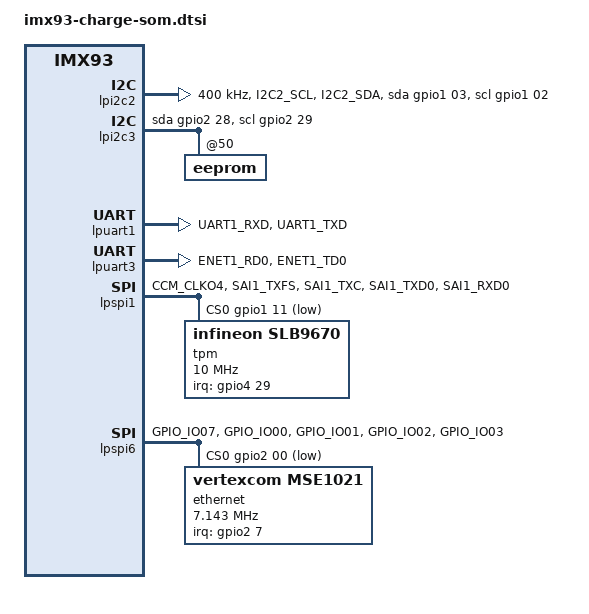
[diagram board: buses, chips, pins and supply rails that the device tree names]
// SPDX-License-Identifier: (GPL-2.0+ OR MIT)
/*
 * Copyright (C) 2024 PHYTEC Messtechnik GmbH
 * Author: Felix Siebel <f.siebel@phytec.de>
 *
 */

#include <dt-bindings/interrupt-controller/irq.h>
#include "imx93-phycore-som.dtsi"

/ {
	compatible = "chargebyte,imx93-charge-som", "phytec,imx93-phycore-som", "fsl,imx93";

	chosen {
		stdout-path = &lpuart1;
	};
};

&lpi2c2 {
	clock-frequency = <400000>;
	pinctrl-names = "default", "gpio";
	pinctrl-0 = <&pinctrl_lpi2c2>;
	pinctrl-1 = <&pinctrl_lpi2c2_gpio>;
	scl-gpios = <&gpio1 02 (GPIO_ACTIVE_HIGH | GPIO_OPEN_DRAIN)>;
	sda-gpios = <&gpio1 03 (GPIO_ACTIVE_HIGH | GPIO_OPEN_DRAIN)>;
	#address-cells = <1>;
	#size-cells = <0>;
	status = "okay";

	/* Note: MSE102x uses addresses 0xe4 and 0x94 */
};

&lpi2c3 {
	pinctrl-names = "default", "gpio";
	pinctrl-0 = <&pinctrl_lpi2c3>;
	pinctrl-1 = <&pinctrl_lpi2c3_gpio>;
	scl-gpios = <&gpio2 29 (GPIO_ACTIVE_HIGH | GPIO_OPEN_DRAIN)>;
	sda-gpios = <&gpio2 28 (GPIO_ACTIVE_HIGH | GPIO_OPEN_DRAIN)>;

	eeprom@50 {
		nvmem-layout {
			compatible = "fixed-layout";
			#address-cells = <1>;
			#size-cells = <1>;

			eth1_host_mac_address: base-mac-address@100 {
				compatible = "mac-base";
				reg = <0x100 0x6>;
				#nvmem-cell-cells = <1>;
			};

			eth1_fw_mac_address: base-mac-address@108 {
				compatible = "mac-base";
				reg = <0x108 0x6>;
				#nvmem-cell-cells = <1>;
			};
		};
	};
};

/* Console */
&lpuart1 {
	pinctrl-names = "default";
	pinctrl-0 = <&pinctrl_uart1>;
	status = "okay";
};

/* Safety */
&lpuart3 {
	pinctrl-names = "default";
	pinctrl-0 = <&pinctrl_uart3>;
	status = "okay";
};

&lpspi1 {
	pinctrl-names = "default";
	pinctrl-0 = <&pinctrl_lpspi1>;
	num-cs = <1>;
	cs-gpios = <&gpio1 11 GPIO_ACTIVE_LOW>;
	status = "okay";
	/* TPM */
	tpm@0 {
		compatible = "infineon,slb9670", "tcg,tpm_tis-spi";
		reg = <0>;
		spi-max-frequency = <10000000>;
		interrupt-parent = <&gpio4>;
		interrupts = <29 IRQ_TYPE_LEVEL_LOW>;
	};
};

&lpspi6 {
	pinctrl-names = "default";
	pinctrl-0 = <&pinctrl_lpspi6>;
	num-cs = <1>;
	cs-gpios = <&gpio2 00 GPIO_ACTIVE_LOW>;
	status = "okay";

	ethernet@0 {
		compatible = "vertexcom,mse1021";
		reg = <0>;
		interrupt-parent = <&gpio2>;
		interrupts = <7 IRQ_TYPE_EDGE_RISING>;
		spi-cpha;
		spi-cpol;
		spi-max-frequency = <7142857>;

		nvmem-cells = <&eth1_host_mac_address 0>;
		nvmem-cell-names = "mac-address";
	};
};

/* eMMC */
&usdhc1 {
	no-1-8-v;
};

/* USB */
&usbphynop1 {
	vcc-supply = <&buck4>;
};

&usbphynop2 {
	vcc-supply = <&buck4>;
};

&iomuxc {

	pinctrl_lpspi1: lpspi1grp {
		/* drive strength: X2, slew rate: fast, no pull */
		fsl,pins = <
			MX93_PAD_CCM_CLKO4__GPIO4_IO29		0x186 // SPI_TPM_nINT0
			MX93_PAD_SAI1_TXFS__GPIO1_IO11		0x186 // SPI_TPM_nCS0
			MX93_PAD_SAI1_TXC__LPSPI1_SIN 		0x186
			MX93_PAD_SAI1_TXD0__LPSPI1_SCK		0x186
			MX93_PAD_SAI1_RXD0__LPSPI1_SOUT		0x186
		>;
	};
	
	pinctrl_lpspi6: lpspi6grp {
		/* drive strength: X2, slew rate: fast, no pull */
		fsl,pins = <
			MX93_PAD_GPIO_IO07__GPIO2_IO07		0x186 // SPI_PLC_nINT0
			MX93_PAD_GPIO_IO00__GPIO2_IO00		0x186 // SPI_PLC_nCS0
			MX93_PAD_GPIO_IO01__LPSPI6_SIN		0x186
			MX93_PAD_GPIO_IO02__LPSPI6_SOUT		0x186
			MX93_PAD_GPIO_IO03__LPSPI6_SCK		0x186
		>;
	};

	pinctrl_lpi2c2: lpi2c2grp {
		/* sion, drive strength: X2, slew rate: fast, pull up, open drain */
		fsl,pins = <
			MX93_PAD_I2C2_SCL__LPI2C2_SCL		0x40000b86
			MX93_PAD_I2C2_SDA__LPI2C2_SDA		0x40000b86
		>;
	};

	pinctrl_lpi2c2_gpio: lpi2c2gpiogrp {
		fsl,pins = <
			MX93_PAD_I2C2_SCL__GPIO1_IO02		0x40000b9e
			MX93_PAD_I2C2_SDA__GPIO1_IO03		0x40000b9e
		>;
	};

	pinctrl_lpi2c3_gpio: lpi2c3gpiogrp {
		fsl,pins = <
			MX93_PAD_GPIO_IO28__GPIO2_IO28		0x40000b9e
			MX93_PAD_GPIO_IO29__GPIO2_IO29		0x40000b9e
		>;
	};

	pinctrl_uart1: uart1grp {
		fsl,pins = <
			MX93_PAD_UART1_RXD__LPUART1_RX		0x31e // drive strength: X4, slew rate: slightly fast, pull up
			MX93_PAD_UART1_TXD__LPUART1_TX		0x30e // drive strength: X3, slew rate: slightly fast, pull up
		>;
	};
	
	pinctrl_gpio4: gpio4grp {
		fsl,pins = <
			MX93_PAD_ENET1_TXC__GPIO4_IO07		0x3fe // DL_REQ_INTR_SPI
			MX93_PAD_ENET1_RD2__GPIO4_IO12 		0x3fe // SAFETY_BOOTMODE_SET
			MX93_PAD_CCM_CLKO3__GPIO4_IO28		0x3fe // nSAFETY_RESET_INT
		>;
	};
	
	pinctrl_uart3: uart3grp {
		fsl,pins = <
			MX93_PAD_ENET1_RD0__LPUART3_RX		0x31e // drive strength: X4, slew rate: slightly fast, pull up
			MX93_PAD_ENET1_TD0__LPUART3_TX 		0x30e // drive strength: X3, slew rate: slightly fast, pull up
		>;
	};
	
};
